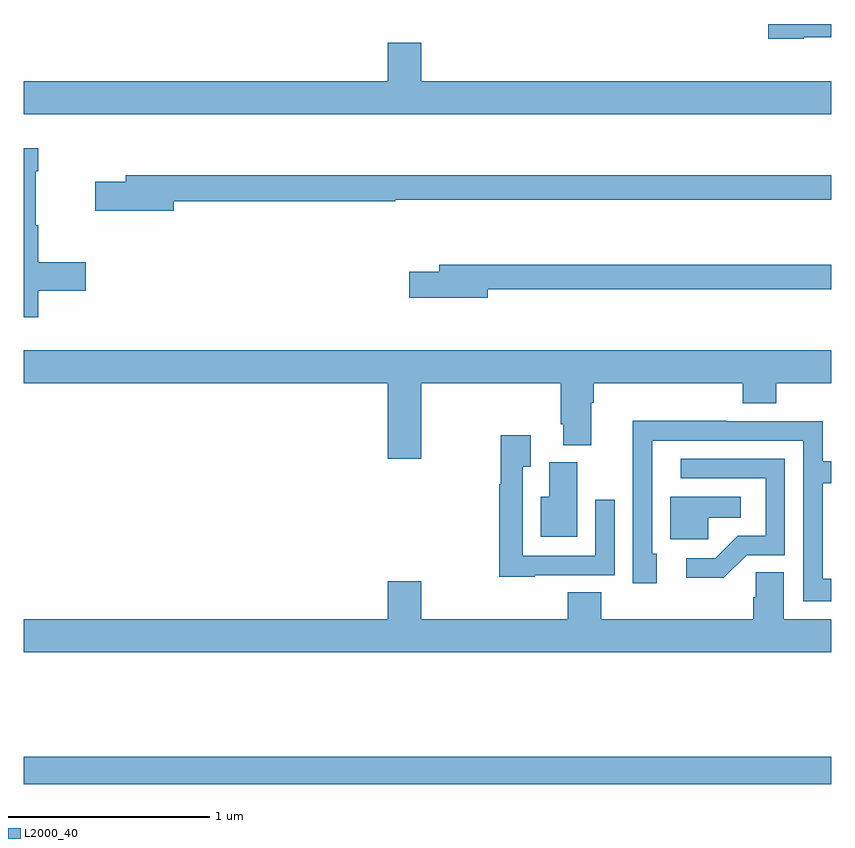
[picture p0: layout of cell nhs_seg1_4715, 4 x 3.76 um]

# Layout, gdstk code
import gdstk
lib = gdstk.Library(unit=1e-6, precision=1e-09)
def R(c, l, rs):  # rectangles x0, y0, x1, y1
    for r in rs: c.add(gdstk.rectangle(r[:2], r[2:], *l))
def P(c, l, *ps):  # polygons
    for p in ps: c.add(gdstk.Polygon(p, *l))
L2000_40 = (2000, 40)

nhs_seg1_4715 = lib.new_cell('nhs_seg1_4715')
R(nhs_seg1_4715, L2000_40, [(367,528.436,371,528.572)])
P(nhs_seg1_4715, L2000_40, [(370.863,532.134),(371,532.134),(371,532.199),(370.687,532.199),(370.687,532.127),(370.863,532.127)],
  [(371,531.916),(368.968,531.916),(368.968,532.105),(368.804,532.105),(368.804,531.916),(367,531.916),(367,531.752),(371,531.752)],
  [(367.073,530.878),(367.309,530.878),(367.309,531.02),(367.073,531.02),(367.073,531.203),(367.06,531.203),(367.06,531.47),(367.073,531.47),(367.073,531.583),(367,531.583),(367,530.748),(367.073,530.748)],
  [(367.744,531.322),(368.84,531.322),(368.84,531.33),(371,531.33),(371,531.451),(367.505,531.451),(367.505,531.417),(367.356,531.417),(367.356,531.275),(367.744,531.275)],
  [(369.298,530.886),(371,530.886),(371,531.007),(369.059,531.007),(369.059,530.973),(368.91,530.973),(368.91,530.843),(369.298,530.843)],
  [(368.968,530.42),(369.659,530.42),(369.659,530.218),(369.671,530.218),(369.671,530.113),(369.811,530.113),(369.811,530.324),(369.824,530.324),(369.824,530.42),(370.562,530.42),(370.562,530.321),(370.727,530.321),(370.727,530.42),(371,530.42),(371,530.584),(367,530.584),(367,530.42),(368.804,530.42),(368.804,530.046),(368.968,530.046)],
  [(371,529.452),(370.957,529.452),(370.957,529.926),(371,529.926),(371,530.034),(370.956,530.034),(370.956,530.232),(370.478,530.232),(370.478,530.234),(370.016,530.234),(370.016,529.93),(370.017,529.93),(370.017,529.431),(370.135,529.431),(370.135,529.575),(370.113,529.575),(370.113,530.136),(370.86,530.136),(370.86,529.341),(371,529.341)],
  [(369.531,529.47),(369.927,529.47),(369.927,529.843),(369.831,529.843),(369.831,529.566),(369.471,529.566),(369.471,530.008),(369.511,530.008),(369.511,530.164),(369.363,530.164),(369.363,529.919),(369.355,529.919),(369.355,529.463),(369.531,529.463)],
  [(370.581,529.569),(370.77,529.569),(370.77,530.046),(370.254,530.046),(370.254,529.95),(370.674,529.95),(370.674,529.665),(370.536,529.665),(370.425,529.554),(370.281,529.554),(370.281,529.457),(370.468,529.457)],
  [(369.742,530.028),(369.602,530.028),(369.602,529.858),(369.56,529.858),(369.56,529.661),(369.742,529.661)],
  [(370.389,529.754),(370.552,529.754),(370.552,529.858),(370.202,529.858),(370.202,529.647),(370.389,529.647)],
  [(371,529.252),(370.765,529.252),(370.765,529.484),(370.626,529.484),(370.626,529.361),(370.613,529.361),(370.613,529.252),(369.86,529.252),(369.86,529.385),(369.695,529.385),(369.695,529.252),(368.968,529.252),(368.968,529.441),(368.804,529.441),(368.804,529.252),(367,529.252),(367,529.088),(371,529.088)])

lib.write_gds('nhs_seg1_4715.gds')
